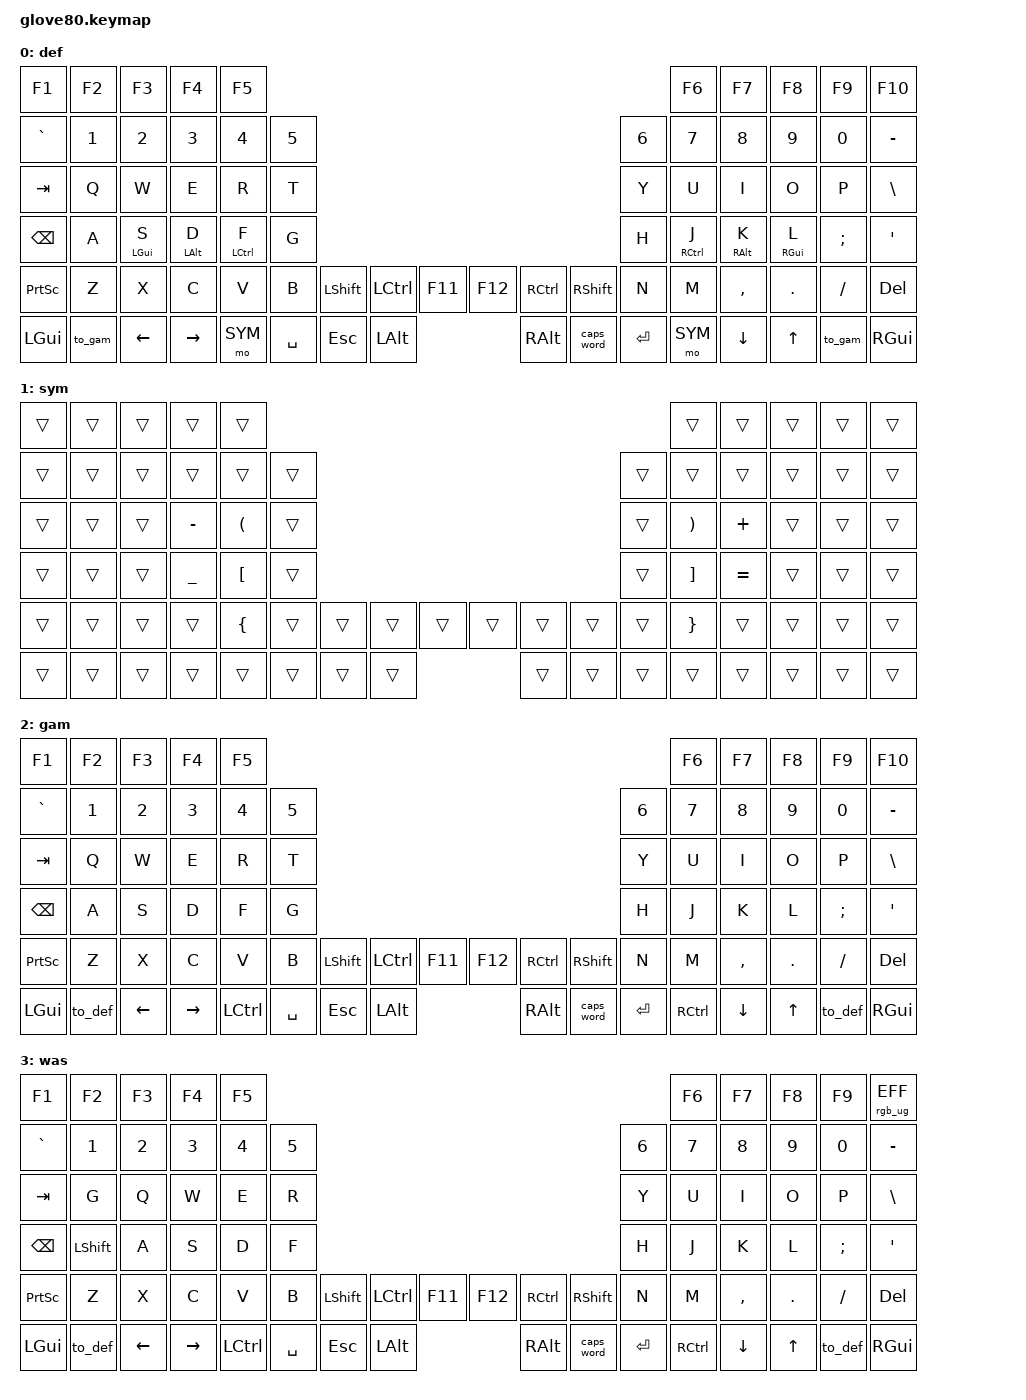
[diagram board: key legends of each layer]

#include <behaviors.dtsi>
#include <behaviors/num_word.dtsi> // requires auto-layer module
#include <dt-bindings/zmk/keys.h>
#include <dt-bindings/zmk/rgb.h>

#include "zmk-helpers/helper.h"
#include "zmk-helpers/key-labels/glove80.h"

#define DEF 0
#define SYM 1
#define GAM 2
#define WAS 3

#define XXX &none
#define ___ &trans

/*                               GLOVE80 KEY MATRIX / LAYOUT MAPPING
 ╭────────────────────╮       ╭────────────────────╮ ╭────────────────────╮       ╭────────────────────╮
 │  0   1   2   3   4 ╰───┬───╯  5   6   7   8   9 │ │ LC5 LC4 LC3 LC2 LC1╰───┬───╯ RC1 RC2 RC3 RC4 RC5│
 │ 10  11  12  13  14  15 │ 16  17  18  19  20  21 │ │ LN5 LN4 LN3 LN2 LN1 LN0│ RN0 RN1 RN2 RN3 RN4 RN5│
 │ 22  23  24  25  26  27 │ 28  29  30  31  32  33 │ │ LT5 LT4 LT3 LT2 LT1 LT0│ RT0 RT1 RT2 RT3 RT4 RT5│
 │ 34  35  36  37  38  39 │ 40  41  42  43  44  45 │ │ LM5 LM4 LM3 LM2 LM1 LM0│ RM0 RM1 RM2 RM3 RM4 RM5│
 │ 46  47  48  49  50  51 │ 58  59  60  61  62  63 │ │ LB5 LB4 LB3 LB2 LB1 LB0│ RB0 RB1 RB2 RB3 RB4 RB5│
 │ 64  65  66  67  68 ╭───┴───╮ 75  76  77  78  79 │ │ LF5 LF4 LF3 LF2 LF1╭───┴───╮ RF1 RF2 RF3 RF4 RF5│
 ╰───────────┬────────┴───┬───┴────────┬───────────╯ ╰───────────┬────────┴───┬───┴────────┬───────────╯
             │ 52  53  54 │ 55  56  57 │                         │ LH5 LH4 LH3│ RH3 RH4 RH5│
             │ 69  70  71 │ 72  73  74 │                         │ LH2 LH1 LH0│ RH0 RH1 RH2│
             ╰────────────┴────────────╯                         ╰────────────┴────────────╯
 */

// Lighting stuff
ZMK_MACRO(
  to_def,
  wait-ms = <0>;
  tap-ms = <0>;
  bindings
    = <&macro_tap &rgb_ug RGB_OFF>,
      <&macro_tap &to DEF>;
)
    
ZMK_MACRO(
  to_gam,
  wait-ms = <0>;
  tap-ms = <0>;
  bindings
    = <&macro_tap &rgb_ug RGB_ON>,
      <&macro_tap &rgb_ug RGB_COLOR_HSB(0, 100, 1)>,
      <&macro_tap &to GAM>;
)

ZMK_MACRO(
  to_was,
  wait-ms = <0>;
  tap-ms = <0>;
  bindings
    = <&macro_tap &rgb_ug RGB_ON>,
      <&macro_tap &rgb_ug RGB_COLOR_HSB(30, 100, 1)>,
      <&macro_tap &to WAS>;
)
// Ensure the lighting starts off
// &rgb_ug RGB_OFF


/* Combos */
#define COMBO_TERM_FAST 18
#define COMBO_TERM_SLOW 30

#define COMBO_IDLE_FAST 150
#define COMBO_IDLE_SLOW 50

#define DEF_COMBO(NAME, BIND, LAYER, KEY1, KEY2) \
  ZMK_COMBO(NAME, BIND, KEY1 KEY2, LAYER, COMBO_TERM_FAST, COMBO_IDLE_FAST)

DEF_COMBO(def_to_was, &to_was, DEF, RF4, RF5)
DEF_COMBO(gam_to_was, &to_was, GAM, RF4, RF5)

/* Homerow mods */

#define KEYS_L LF1 LF2 LF3 LF4 LF5 \
  LB0 LB1 LB2 LB3 LB4 LB5 \
  LM0 LM1 LM2 LM3 LM4 LM5 \
  LT0 LT1 LT2 LT3 LT4 LT5 \
  LN0 LN1 LN2 LN3 LN4 LN5 \
  LC1 LC2 LC3 LC4 LC5
#define KEYS_R RF1 RF2 RF3 RF4 RF5 \
  RB0 RB1 RB2 RB3 RB4 RB5 \
  RM0 RM1 RM2 RM3 RM4 RM5 \
  RT0 RT1 RT2 RT3 RT4 RT5 \
  RN0 RN1 RN2 RN3 RN4 RN5 \
  RC1 RC2 RC3 RC4 RC5
#define THUMBS \
  LH0 LH1 LH2 LH3 LH4 LH5 \
  RH0 RH1 RH2 RH3 RH4 RH5

#define MAKE_HRM(NAME, HOLD, TAP, TRIGGER_POS) \
    ZMK_HOLD_TAP(NAME, \
        flavor = "balanced"; \
        tapping-term-ms = <280>; \
        quick-tap-ms = <175>; \
        require-prior-idle-ms = <150>; \
        bindings = <HOLD>, <TAP>; \
        hold-trigger-key-positions = <TRIGGER_POS>; \
        hold-trigger-on-release; \
    )
MAKE_HRM(hml, &kp, &kp, KEYS_R THUMBS)
MAKE_HRM(hmr, &kp, &kp, KEYS_L THUMBS)
MAKE_HRM(hmol, &mo, &kp, KEYS_R THUMBS)
MAKE_HRM(hmor, &mo, &kp, KEYS_L THUMBS)

// HRM combo hack - workaround for lack of tap-only combos (ZMK issue #544)
// #define ZMK_COMBO_8(NAME, TAP, KEYPOS, LAYERS, COMBO_TERM, COMBO_IDLE, HOLD, SIDE) \
//     MAKE_HRM(hm_combo_ ## NAME, &kp, TAP, SIDE THUMBS) \
//     ZMK_COMBO_6(NAME, &hm_combo_ ## NAME HOLD 0, KEYPOS, LAYERS, COMBO_TERM, COMBO_IDLE)

/* Keymap */


ZMK_LAYER(def,
  &kp F1     &kp F2    &kp F3       &kp F4       &kp F5                                                                                                  &kp F6        &kp F7       &kp F8       &kp F9    &kp F10
  &kp GRAVE  &kp N1    &kp N2       &kp N3       &kp N4        &kp N5                                                                            &kp N6  &kp N7        &kp N8       &kp N9       &kp N0    &kp MINUS
  &kp TAB    &kp Q     &kp W        &kp E        &kp R         &kp T                                                                             &kp Y   &kp U         &kp I        &kp O        &kp P     &kp BSLH
  &kp BSPC   &kp A     &hml LGUI S  &hml LALT D  &hml LCTRL F  &kp G                                                                             &kp H   &hmr RCTRL J  &hmr RALT K  &hmr RGUI L  &kp SEMI  &kp SQT
  &kp PSCRN        &kp Z     &kp X        &kp C        &kp V         &kp B      &kp LSHFT    &kp LCTRL  &kp F11   /**/  &kp F12   &kp RCTRL  &kp RSHFT     &kp N   &kp M         &kp COMMA    &kp DOT      &kp FSLH  &kp DEL
  &kp LGUI   &to_gam       &kp LEFT    &kp RIGHT     &mo SYM                &kp SPACE  &kp ESC    &kp LALT  /**/  &kp RALT  &caps_word  &kp RET             &mo SYM     &kp DOWN     &kp UP     &to_gam    &kp RGUI
)

ZMK_LAYER(sym,
  ___ ___        ___        ___        ___                                                             ___        ___             ___        ___         ___
  ___ ___        ___        ___        ___        ___                                       ___        ___        ___             ___        ___         ___
  ___ ___        ___        &kp MINUS   &kp LPAR  ___                                       ___        &kp RPAR   &kp PLUS        ___        ___         ___
  ___ ___        ___        &kp UNDER   &kp LBKT  ___                                       ___        &kp RBKT   &kp EQUAL       ___        ___         ___
  ___ ___        ___        ___         &kp LBRC  ___        ___ ___ ___  /**/  ___ ___ ___ ___        &kp RBRC   ___             ___        ___         ___
  ___ ___        ___        ___        ___                   ___ ___ ___  /**/  ___ ___ ___            ___        ___             ___        ___         ___  
)

ZMK_LAYER(gam,
  &kp F1     &kp F2    &kp F3       &kp F4       &kp F5                                                                                                  &kp F6        &kp F7       &kp F8       &kp F9    &kp F10
  &kp GRAVE  &kp N1    &kp N2       &kp N3       &kp N4        &kp N5                                                                            &kp N6  &kp N7        &kp N8       &kp N9       &kp N0    &kp MINUS
  &kp TAB    &kp Q     &kp W        &kp E        &kp R         &kp T                                                                             &kp Y   &kp U         &kp I        &kp O        &kp P     &kp BSLH
  &kp BSPC   &kp A     &kp S        &kp D        &kp F  &kp G                                                                                    &kp H   &kp J  &kp K  &kp L  &kp SEMI  &kp SQT
  &kp PSCRN        &kp Z     &kp X        &kp C        &kp V         &kp B      &kp LSHFT    &kp LCTRL  &kp F11   /**/  &kp F12   &kp RCTRL  &kp RSHFT     &kp N   &kp M         &kp COMMA    &kp DOT      &kp FSLH  &kp DEL
  &kp LGUI   &to_def       &kp LEFT    &kp RIGHT     &kp LCTRL                &kp SPACE  &kp ESC    &kp LALT  /**/  &kp RALT  &caps_word  &kp RET             &kp RCTRL     &kp DOWN     &kp UP     &to_def    &kp RGUI
)

ZMK_LAYER(was,
  &kp F1     &kp F2    &kp F3       &kp F4       &kp F5                                                                                                  &kp F6        &kp F7       &kp F8       &kp F9    &rgb_ug RGB_EFF
  &kp GRAVE  &kp N1    &kp N2       &kp N3       &kp N4        &kp N5                                                                            &kp N6  &kp N7        &kp N8       &kp N9       &kp N0    &kp MINUS
  &kp TAB    &kp G     &kp Q        &kp W        &kp E         &kp R                                                                             &kp Y   &kp U         &kp I        &kp O        &kp P     &kp BSLH
  &kp BSPC   &kp LSHFT     &kp A        &kp  S       &kp D         &kp F                                                                             &kp H   &kp J         &kp K        &kp L  &kp SEMI  &kp SQT
  &kp PSCRN  &kp Z     &kp X        &kp C        &kp V         &kp B      &kp LSHFT    &kp LCTRL  &kp F11   /**/  &kp F12   &kp RCTRL  &kp RSHFT     &kp N   &kp M         &kp COMMA    &kp DOT      &kp FSLH  &kp DEL
  &kp LGUI   &to_def       &kp LEFT    &kp RIGHT     &kp LCTRL                &kp SPACE  &kp ESC    &kp LALT  /**/  &kp RALT  &caps_word  &kp RET             &kp RCTRL     &kp DOWN     &kp UP    &to_def    &kp RGUI
)
